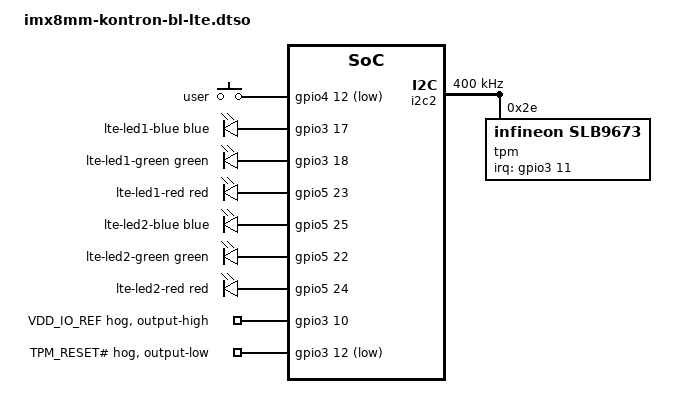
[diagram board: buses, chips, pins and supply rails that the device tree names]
// SPDX-License-Identifier: GPL-2.0+ OR MIT
/*
 * Copyright (C) 2025 Kontron Electronics GmbH
 */

/dts-v1/;
/plugin/;

#include <dt-bindings/gpio/gpio.h>
#include <dt-bindings/input/input.h>
#include <dt-bindings/interrupt-controller/irq.h>
#include <dt-bindings/leds/common.h>
#include "imx8mm-pinfunc.h"

&{/} {
	compatible = "kontron,imx8mm-bl", "kontron,imx8mm-sl", "fsl,imx8mm";

	gpio-keys {
		compatible = "gpio-keys";
		pinctrl-names = "default";
		pinctrl-0 = <&pinctrl_gpio_keys>;

		key-user {
			label = "user";
			linux,code = <BTN_0>;
			gpios = <&gpio4 12 GPIO_ACTIVE_LOW>;
		};
	};

	leds {
		compatible = "gpio-leds";
		pinctrl-names = "default";
		pinctrl-0 = <&pinctrl_gpio_led_lte>;

		lte-led1-b {
			label = "lte-led1-blue";
			color = <LED_COLOR_ID_BLUE>;
			gpios = <&gpio3 17 GPIO_ACTIVE_HIGH>;
		};

		lte-led1-g {
			label = "lte-led1-green";
			color = <LED_COLOR_ID_GREEN>;
			gpios = <&gpio3 18 GPIO_ACTIVE_HIGH>;
		};

		lte-led1-r {
			label = "lte-led1-red";
			color = <LED_COLOR_ID_RED>;
			gpios = <&gpio5 23 GPIO_ACTIVE_HIGH>;
		};

		lte-led2-b {
			label = "lte-led2-blue";
			color = <LED_COLOR_ID_BLUE>;
			gpios = <&gpio5 25 GPIO_ACTIVE_HIGH>;
		};

		lte-led2-g {
			label = "lte-led2-green";
			color = <LED_COLOR_ID_GREEN>;
			gpios = <&gpio5 22 GPIO_ACTIVE_HIGH>;
		};

		lte-led2-r {
			label = "lte-led2-red";
			color = <LED_COLOR_ID_RED>;
			gpios = <&gpio5 24 GPIO_ACTIVE_HIGH>;
		};
	};
};

&ecspi3 {
	status = "disabled";
};

&i2c2 {
	#address-cells = <1>;
	#size-cells = <0>;
	clock-frequency = <400000>;
	pinctrl-names = "default";
	pinctrl-0 = <&pinctrl_i2c2>;
	status = "okay";

	tpm@2e {
		compatible = "infineon,slb9673", "tcg,tpm-tis-i2c";
		pinctrl-names = "default";
		pinctrl-0 = <&pinctrl_tpm>;
		reg = <0x2e>;
		interrupt-parent = <&gpio3>;
		interrupts = <11 IRQ_TYPE_LEVEL_LOW>;
	};
};

&gpio3 {
	pinctrl-names = "default";
	pinctrl-0 = <&pinctrl_gpio3>;
	gpio-line-names = "", "", "", "",
			  "", "", "", "",
			  "", "", "VDD_IO_REF", "TPM_PIRQ#",
			  "TPM_RESET# ", "", "", "",
			  "", "LTE_LED1_B", "LTE_LED1_G", "",
			  "";

	vdd-io-ref-hog {
		gpio-hog;
		gpios = <10 GPIO_ACTIVE_HIGH>;
		line-name = "VDD_IO_REF";
		output-high;
	};

	tpm-reset-hog {
		gpio-hog;
		gpios = <12 GPIO_ACTIVE_LOW>;
		line-name = "TPM_RESET#";
		output-low;
	};
};

&gpio4 {
	pinctrl-names = "default";
	pinctrl-0 = <&pinctrl_gpio4>;
	gpio-line-names = "", "", "LTE_RESET", "",
			  "", "", "", "",
			  "", "", "", "LTE_PWRKEY",
			  "", "", "", "",
			  "", "", "", "",
			  "LTE_PWR_EN";
};

&gpio5 {
	gpio-line-names = "", "", "", "",
			  "", "", "", "",
			  "", "", "", "",
			  "", "", "", "",
			  "", "", "", "",
			  "", "", "LTE_LED2_G", "LTE_LED1_R",
			  "LTE_LED2_R", "LTE_LED2_B";
};

&iomuxc {
	pinctrl_gpio3: gpio3grp {
		fsl,pins = <
			MX8MM_IOMUXC_NAND_DATA04_GPIO3_IO10		0x19 /* VDD_IO_REF */
		>;
	};

	pinctrl_gpio4: gpio4grp {
		fsl,pins = <
			MX8MM_IOMUXC_SAI1_RXD0_GPIO4_IO2		0x19 /* LTE_RESET */
			MX8MM_IOMUXC_SAI1_TXC_GPIO4_IO11 		0x19 /* LTE_PWRKEY */
			MX8MM_IOMUXC_SAI1_MCLK_GPIO4_IO20		0x19 /* LTE_PWR_EN */
		>;
	};

	pinctrl_gpio_keys: gpiokeysgrp {
		fsl,pins = <
			MX8MM_IOMUXC_SAI1_TXD0_GPIO4_IO12		0x19 /* Pushbutton */
		>;
	};

	pinctrl_gpio_led_lte: gpioledltegrp {
		fsl,pins = <
			MX8MM_IOMUXC_NAND_WE_B_GPIO3_IO17		0x19 /* LTE_LED1_B */
			MX8MM_IOMUXC_NAND_WP_B_GPIO3_IO18		0x19 /* LTE_LED1_G */
			MX8MM_IOMUXC_UART1_TXD_GPIO5_IO23		0x19 /* LTE_LED1_R */
			MX8MM_IOMUXC_UART2_TXD_GPIO5_IO25		0x19 /* LTE_LED2_B */
			MX8MM_IOMUXC_UART1_RXD_GPIO5_IO22		0x19 /* LTE_LED2_G */
			MX8MM_IOMUXC_UART2_RXD_GPIO5_IO24		0x19 /* LTE_LED2_R */
		>;
	};

	pinctrl_i2c2: i2c2grp {
		fsl,pins = <
			MX8MM_IOMUXC_I2C2_SCL_I2C2_SCL			0x40000083 /* I2C_A_SCL */
			MX8MM_IOMUXC_I2C2_SDA_I2C2_SDA			0x40000083 /* I2C_A_SDA */
		>;
	};

	pinctrl_tpm: tpmgrp {
		fsl,pins = <
			MX8MM_IOMUXC_NAND_DATA05_GPIO3_IO11		0x19 /* TPM_PIRQ# */
			MX8MM_IOMUXC_NAND_DATA06_GPIO3_IO12		0x39 /* TPM_RESET# */
		>;
	};
};
